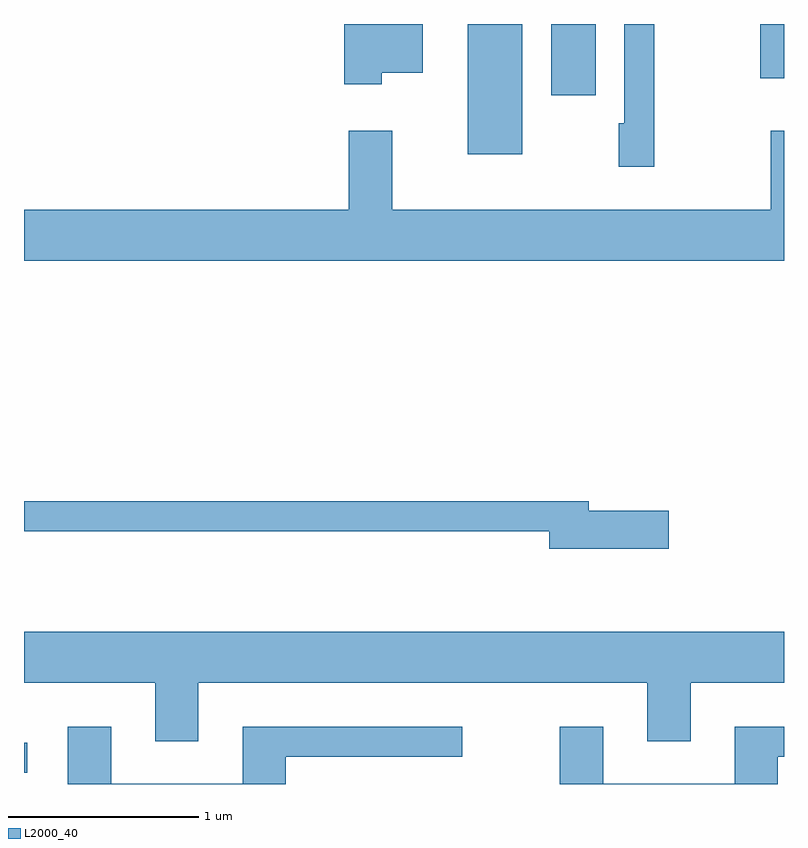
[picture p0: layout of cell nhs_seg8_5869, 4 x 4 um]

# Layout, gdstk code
import gdstk
lib = gdstk.Library(unit=1e-6, precision=1e-09)
def R(c, l, rs):  # rectangles x0, y0, x1, y1
    for r in rs: c.add(gdstk.rectangle(r[:2], r[2:], *l))
def P(c, l, *ps):  # polygons
    for p in ps: c.add(gdstk.Polygon(p, *l))
L2000_40 = (2000, 40)

nhs_seg8_5869 = lib.new_cell('nhs_seg8_5869')
R(nhs_seg8_5869, L2000_40, [(361.611,1820.401,361.628,1820.559), (363.946,1823.656,364.234,1824.342), (364.386,1823.966,364.619,1824.342), (365.486,1824.056,365.611,1824.342)])
P(nhs_seg8_5869, L2000_40, [(364.929,1824.342),(364.771,1824.342),(364.771,1823.819),(364.741,1823.819),(364.741,1823.591),(364.929,1823.591)],
  [(363.494,1824.086),(363.709,1824.086),(363.709,1824.342),(363.296,1824.342),(363.296,1824.026),(363.494,1824.026)],
  [(365.611,1823.779),(365.541,1823.779),(365.541,1823.364),(363.549,1823.364),(363.549,1823.779),(363.321,1823.779),(363.321,1823.364),(361.611,1823.364),(361.611,1823.096),(365.611,1823.096)],
  [(365.004,1821.779),(364.584,1821.779),(364.584,1821.829),(361.611,1821.829),(361.611,1821.671),(364.376,1821.671),(364.376,1821.581),(365.004,1821.581)],
  [(362.529,1820.876),(364.891,1820.876),(364.891,1820.566),(365.119,1820.566),(365.119,1820.876),(365.611,1820.876),(365.611,1821.144),(361.611,1821.144),(361.611,1820.876),(362.301,1820.876),(362.301,1820.566),(362.529,1820.566)],
  [(365.579,1820.486),(365.611,1820.486),(365.611,1820.644),(365.351,1820.644),(365.351,1820.344),(364.659,1820.344),(364.659,1820.644),(364.431,1820.644),(364.431,1820.342),(365.579,1820.342)],
  [(362.989,1820.486),(363.918,1820.486),(363.918,1820.644),(362.761,1820.644),(362.761,1820.344),(362.069,1820.344),(362.069,1820.644),(361.841,1820.644),(361.841,1820.342),(362.989,1820.342)])

lib.write_gds('nhs_seg8_5869.gds')
